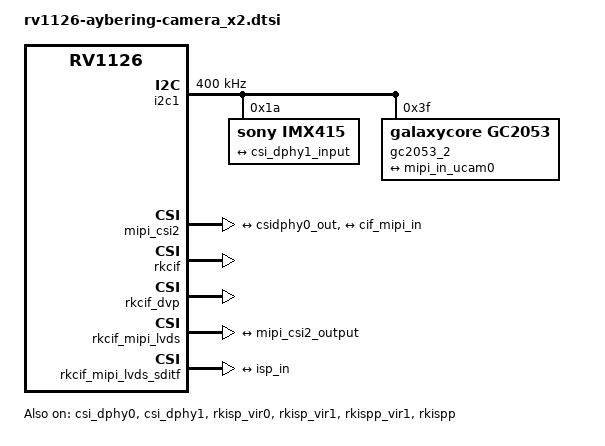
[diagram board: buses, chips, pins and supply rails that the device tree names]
// Same as _x1
// But swapped CSI ports for GC2053 and imx415
//
//

&csi_dphy0 {
	status = "okay";

	ports {
		#address-cells = <1>;
		#size-cells = <0>;
		port@0 {
			reg = <0>;
			#address-cells = <1>;
			#size-cells = <0>;

			mipi_in_ucam0: endpoint@1 {
				reg = <1>;
				remote-endpoint = <&ucam_out0>;
				data-lanes = <1 2>;
				//data-lanes = <1 2 3 4>;//sure
			};
		};
		port@1 {
			reg = <1>;
			#address-cells = <1>;
			#size-cells = <0>;

			csidphy0_out: endpoint@0 {
				reg = <0>;
				remote-endpoint = <&mipi_csi2_input>;
				data-lanes = <1 2>;//sure
				//data-lanes = <1 2 3 4>;
			};
		};
	};
};



&csi_dphy1 {
	status = "okay";
	ports {
		port@0 {
			csi_dphy1_input: endpoint@1 {
				remote-endpoint = <&ucam_out1>;
				//data-lanes = <1 2>;//sure
				data-lanes = <1 2 3 4>;
			};
		};
		port@1 {
			csi_dphy1_output: endpoint@0 {
				remote-endpoint = <&isp_virt1>;
				//data-lanes = <1 2>;//sure
				data-lanes = <1 2 3 4>;
			};
		};
	};
};


&i2c1 {
        status = "okay";
        clock-frequency = <400000>;

        imx415: imx415@1a {
                   compatible = "sony,imx415";
                   reg = <0x1a>;
                   clocks = <&cru CLK_MIPICSI_OUT>;
                   clock-names = "xvclk";
                   power-domains = <&power RV1126_PD_VI>;
                   pinctrl-names = "rockchip,camera_default";
                   pinctrl-0 = <&mipicsi_clk1>;
//                   avdd-supply = <&vcc3v3_sys>;
//                   dovdd-supply = <&vcc_1v8>;
//                   dvdd-supply = <&vcc_dvdd>;
//                   reset-gpios = <&gpio1 RK_PD5 GPIO_ACTIVE_LOW>;
                   rockchip,camera-module-index = <0>;
                   rockchip,camera-module-facing = "front";
                   rockchip,camera-module-name = "YT10092";
                   rockchip,camera-module-lens-name = "IR0147-28IRC-8M-F20";
                   ir-cut = <&cam_ircut0>;
                   port {
                                   ucam_out1: endpoint {
                                                   remote-endpoint = <&csi_dphy1_input>;
                                                   data-lanes = <1 2 3 4>;
                                   };
                   };
        };

	        gc2053_2: gc2053_2@3f {
                compatible = "galaxycore,gc2053";
                reg = <0x3f>;
                clocks = <&cru CLK_MIPICSI_OUT>;
                clock-names = "xvclk";

                power-domains = <&power RV1126_PD_VI>;
                pinctrl-names = "rockchip,camera_default";
                pinctrl-0 = <&mipicsi_clk0>;

//              pwd-gpios = <&gpio3 RK_PA4 GPIO_ACTIVE_HIGH>;
//              reset-gpios = <&gpio2 RK_PA0 GPIO_ACTIVE_LOW>;
                rockchip,camera-module-index = <1>;
                rockchip,camera-module-facing = "front";
                rockchip,camera-module-name = "CMK-OT1726-PG1";
                rockchip,camera-module-lens-name = "29IR-2MP-F25";
//              ir-cut = <&cam_ircut0>;
                port {
                        ucam_out0: endpoint {
                                remote-endpoint = <&mipi_in_ucam0>;
                                data-lanes = <1 2>;
                        };
                };
        };


};



/*&i2c1 {
	status = "okay";
	clock-frequency = <400000>;


	gc2053_2: gc2053_2@3f {
		compatible = "galaxycore,gc2053";
		reg = <0x3f>;
		clocks = <&cru CLK_MIPICSI_OUT>;
		clock-names = "xvclk";

		power-domains = <&power RV1126_PD_VI>;
		pinctrl-names = "rockchip,camera_default";
		pinctrl-0 = <&mipicsi_clk1>;

//		pwd-gpios = <&gpio3 RK_PA4 GPIO_ACTIVE_HIGH>;
//		reset-gpios = <&gpio2 RK_PA0 GPIO_ACTIVE_LOW>;
  		rockchip,camera-module-index = <1>;
  		rockchip,camera-module-facing = "front";
  		rockchip,camera-module-name = "CMK-OT1726-PG1";
  		rockchip,camera-module-lens-name = "29IR-2MP-F25";
//		ir-cut = <&cam_ircut0>;
		port {
			ucam_out1: endpoint {
				remote-endpoint = <&csi_dphy1_input>;
				data-lanes = <1 2>;
			};
		};
	};

	gc2053: gc2053@37 {
		compatible = "galaxycore,gc2053";
		reg = <0x37>;

		clocks = <&cru CLK_MIPICSI_OUT>;
		clock-names = "xvclk";

		power-domains = <&power RV1126_PD_VI>;
		pinctrl-names = "rockchip,camera_default";
		pinctrl-0 = <&mipicsi_clk0>;
//		power-gpios = <&gpio3 RK_PA6 GPIO_ACTIVE_HIGH>;
//		pwdn-gpios = <&gpio1 RK_PD4 GPIO_ACTIVE_LOW>;
//		reset-gpios = <&gpio1 RK_PD5 GPIO_ACTIVE_LOW>;

		rockchip,camera-module-index = <0>;
		rockchip,camera-module-facing = "front";
		rockchip,camera-module-name = "YT-RV1109-2-V1";
		rockchip,camera-module-lens-name = "40IR-2MP-F20";
		port {
			ucam_out0: endpoint {
				remote-endpoint = <&mipi_in_ucam0>;
				data-lanes = <1 2>;
			};
		};
	};


};*/

/*
&i2c1 {
        status = "okay";
        clock-frequency = <400000>;

	gc2053: gc2053@37 {
  	compatible = "galaxycore,gc2053";
  	reg = <0x37>;

  	clocks = <&cru CLK_MIPICSI_OUT>;
  	clock-names = "xvclk";

  	power-domains = <&power RV1126_PD_VI>;
  	pinctrl-names = "rockchip,camera_default";
  	pinctrl-0 = <&mipicsi_clk0>;
	//  power-gpios = <&gpio3 RK_PA6 GPIO_ACTIVE_HIGH>;
	//  pwdn-gpios = <&gpio1 RK_PD4 GPIO_ACTIVE_LOW>;
	//reset-gpios = <&gpio1 RK_PD5 GPIO_ACTIVE_HIGH>;

	rockchip,camera-module-index = <0>;
	rockchip,camera-module-facing = "front";
	rockchip,camera-module-name = "YT-RV1109-2-V1";
	rockchip,camera-module-lens-name = "40IR-2MP-F20";
	port {
   		ucam_out0: endpoint {
    		remote-endpoint = <&mipi_in_ucam0>;
    		data-lanes = <1 2>;
   			};
  		};
 	};

	gc2093: gc2093@7e {
	compatible = "galaxycore,gc2093";
	reg = <0x7e>;
	clocks = <&cru CLK_MIPICSI_OUT>;
	clock-names = "xvclk";
	power-domains = <&power RV1126_PD_VI>;
	pinctrl-names = "default";
	pinctrl-0 = <&mipicsi_clk1>;
	//avdd-supply = <&vcc_avdd>;
	//dovdd-supply = <&vcc_dovdd>;
	//dvdd-supply = <&vcc_dvdd>;
	//pwdn-gpios = <&gpio1 RK_PD6 GPIO_ACTIVE_HIGH>;
	//reset-gpios = <&gpio2 RK_PA0 GPIO_ACTIVE_HIGH>;
	rockchip,camera-module-index = <1>;
	rockchip,camera-module-facing = "front";
	rockchip,camera-module-name = "YT-RV1109-2-V1";
	rockchip,camera-module-lens-name = "40IR-2MP-F20";
	ir-cut = <&cam_ircut0>;
	port {
		ucam_out1: endpoint {
		remote-endpoint = <&csi_dphy1_input>;
		data-lanes = <1 2>;
			};
		};
	 };
};
*/


/* isp cma buffer don't fiddle with it, dual camera(1920 * 1080) need 92M buffer */
&isp_reserved {
	size = <0x5c00000>;
	//size = <0xb800000>;
//	size = <0x20000000>;
};

&mipi_csi2 {
	status = "okay";

	ports {
		#address-cells = <1>;
		#size-cells = <0>;

		port@0 {
			reg = <0>;
			#address-cells = <1>;
			#size-cells = <0>;

			mipi_csi2_input: endpoint@1 {
				reg = <1>;
				remote-endpoint = <&csidphy0_out>;
				data-lanes = <1 2>;//sure
				//data-lanes = <1 2 3 4>;
			};
		};

		port@1 {
			reg = <1>;
			#address-cells = <1>;
			#size-cells = <0>;

			mipi_csi2_output: endpoint@0 {
				reg = <0>;
				remote-endpoint = <&cif_mipi_in>;
				data-lanes = <1 2>;//sure
				//data-lanes = <1 2 3 4>;
			};
		};
	};
};

&rkcif {
	status = "okay";
};

&rkcif_mmu {
	status = "disabled";
};

&rkcif_dvp {
	status = "okay";

	port {
		/* Parallel bus endpoint */
		/*
		cif_para_in: endpoint {
			remote-endpoint = <&cam_para_out1>;
			bus-width = <12>;
			hsync-active = <1>;
			vsync-active = <0>;
		};
		*/
	};
};
&rkcif_mipi_lvds {
	status = "okay";
	port {
		/* MIPI CSI-2 endpoint */
		cif_mipi_in: endpoint {
			remote-endpoint = <&mipi_csi2_output>;
			data-lanes = <1 2>;//sure
			//data-lanes = <1 2 3 4>;
		};
	};
};

&rkcif_mipi_lvds_sditf {
	status = "okay";

	port {
		/* MIPI CSI-2 endpoint */
		mipi_lvds_sditf: endpoint {
			remote-endpoint = <&isp_in>;
			data-lanes = <1 2>;//sure
			//data-lanes = <1 2 3 4>;
		};
	};
};


&rkisp_vir0 {
	status = "okay";

	ports {
		port@0 {
			reg = <0>;
			#address-cells = <1>;
			#size-cells = <0>;

			isp_in: endpoint@0 {
				reg = <0>;
				remote-endpoint = <&mipi_lvds_sditf>;
			};
		};
	};
};

&rkisp_vir1 {
	status = "okay";
	ports {
		port@0 {
			isp_virt1: endpoint@0 {
				remote-endpoint = <&csi_dphy1_output>;
			};
		};
	};
};


&rkispp_vir1 {
	status = "okay";
};

&rkispp {
	status = "okay";
	/* the max input w h and fps of mulit sensor */
	max-input = <1920 1080 30>;
	//max-input = <3840 2160 30>;
};

